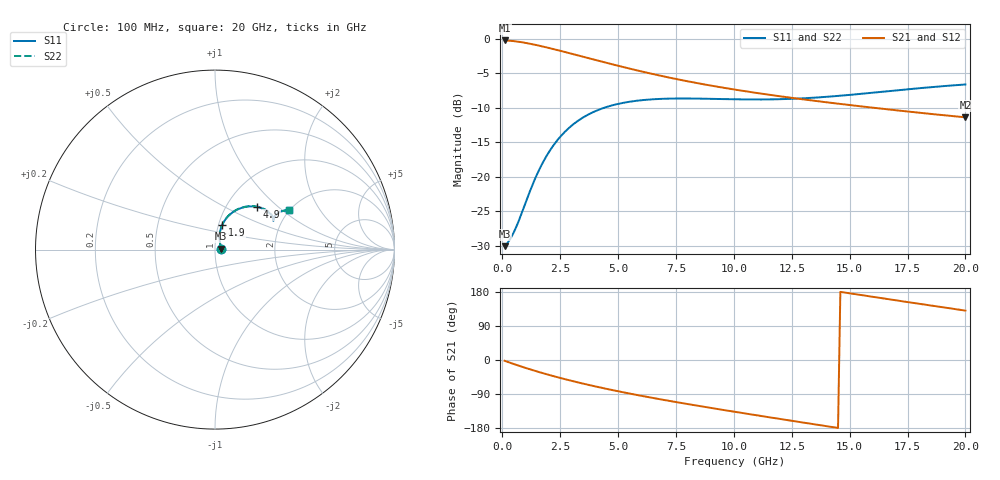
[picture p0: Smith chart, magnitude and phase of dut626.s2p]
! Touchstone file exported from HFSS 2024.1.0
!  File:  C:/UserFiles/LocalFiles/RDL_TSV_Batchsim/temp_RDL_TSV_626_1779803183.aedt
!  Generated:  10:00:11 PM May 26, 2026
!  Design:  RDL_TSV
!  Project:  temp_RDL_TSV_626_1779803183
!  Setup:  Setup1
!  Solution:  Sweep
! Variables:
!  dtsv = 14.12um
!  hbump = 3um
!  htsv = 65.31um
!  ldown = 266.19um
!  lrdl = 608.1um
!  p = 40
!  p1 = 58.11um
!  rhole = 10um
!  subl = 3230.97um
!  t = 450um
!  tdown = 4.97um
!  trdl = 2.28um
!  viad = 10um
!  wdown = 17.32um
!  wrdl = 13.14um
!  xbump = 18um
# GHz S MA R 50.000000
! Terminal data exported
! Port[1] = TM1_1_T1
! Port[2] = TM1_4_T1
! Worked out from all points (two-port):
!   200 points, 100 MHz to 20 GHz, reference 50 ohm
!   highest |S21| = -0.28 dB at 100 MHz (marker M1); lowest = -11.4 dB at 20 GHz (marker M2)
!   |S21| within 3 dB of the highest: start of sweep to 4.227 GHz
!   lowest |S11| = -30.0 dB at 100 MHz (marker M3), VSWR 1.07, Z = 53.2 + j0.572 ohm
!   |S11| at or under -10 dB: start of sweep to 4.414 GHz
!   |S22| runs from -30.0 to -6.6 dB; largest |S21 - S12| = 6.6e-14
!   S11 on the Smith chart (normalised r, x): 100 MHz: 1.06, +0.01; 1.9 GHz: 1.04, +0.29; 4.9 GHz: 1.38, +0.74; 20 GHz: 1.99, +1.11
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0.1  0.03151 9.8  0.9684 -2.2  0.9684 -2.2  0.03151 9.8
! Gamma 0 0 0 0
! Port Impedance 50 0 50 0
0.3  0.03462 27.2  0.9644 -6.5  0.9644 -6.5  0.03462 27.3
0.5  0.0398 41.9  0.9573 -10.7  0.9573 -10.7  0.03979 42.0
1  0.06458 66.6  0.9303 -20.8  0.9303 -20.8  0.06461 66.7
1.5  0.1041 74.3  0.8949 -30.3  0.8949 -30.3  0.1043 74.4
1.9  0.1404 73.9  0.8637 -37.4  0.8637 -37.4  0.1407 74.1
2.2  0.1679 71.9  0.8396 -42.4  0.8396 -42.4  0.1683 72.0
2.6  0.203 68.2  0.8076 -48.9  0.8076 -48.9  0.2035 68.3
3  0.2349 63.9  0.776 -55.1  0.776 -55.1  0.2355 64.1
3.5  0.2693 58.6  0.7377 -62.5  0.7377 -62.5  0.2701 58.7
4.2  0.307 51.6  0.6874 -72.2  0.6874 -72.2  0.3081 51.7
4.9  0.3337 45.5  0.6415 -81.3  0.6415 -81.3  0.3349 45.6
5.8  0.3548 39.0  0.5892 -92.1  0.5892 -92.1  0.3563 39.2
6.8  0.3658 33.6  0.5398 -103.4  0.5398 -103.4  0.3676 33.7
8.4  0.3679 28.3  0.4766 -120.3  0.4766 -120.3  0.3699 28.4
10.1  0.3634 26.3  0.4257 -137.3  0.4257 -137.3  0.3656 26.3
11.7  0.3632 26.8  0.3883 -152.8  0.3883 -152.8  0.3654 26.8
13.4  0.3728 28.4  0.356 -169.0  0.356 -169.0  0.3748 28.4
15  0.3911 29.8  0.3304 176.0  0.3304 176.0  0.3929 29.6
16.7  0.4166 30.1  0.3067 160.3  0.3067 160.3  0.4181 30.0
18.3  0.4417 29.5  0.2873 145.6  0.2873 145.6  0.4429 29.4
20  0.4653 27.9  0.2692 130.4  0.2692 130.4  0.4664 27.9
